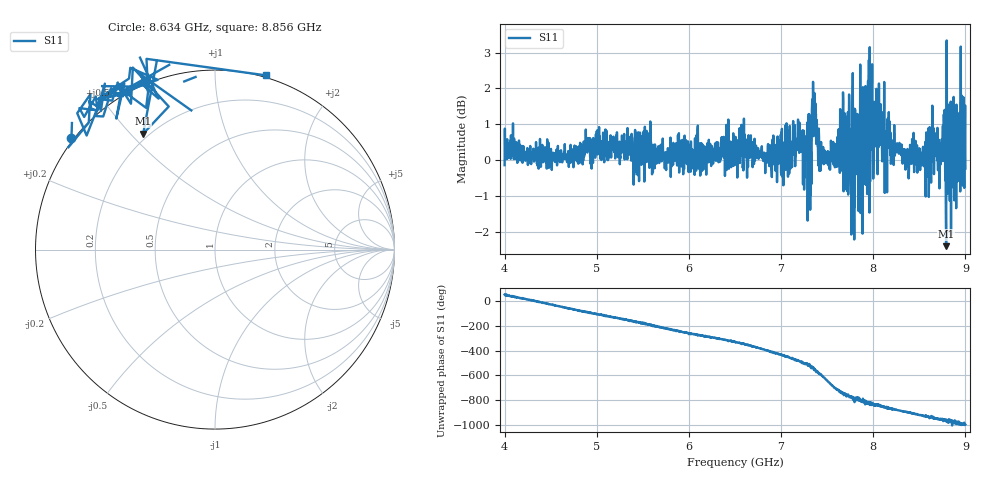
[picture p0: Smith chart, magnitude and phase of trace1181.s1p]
! Created with skrf 1.8.0 (http://scikit-rf.org).
# Hz S RI R 50.0
!freq ReS11 ImS11
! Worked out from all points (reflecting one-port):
!   1601 points, 4 GHz to 9 GHz, reference 50 ohm
!   lowest |S11| = -2.4 dB at 8.791 GHz (marker M1), VSWR 7.31, Z = 8.9 + j27.1 ohm
!   phase of S11 starts at 53 deg and turns -1052 deg over the sweep
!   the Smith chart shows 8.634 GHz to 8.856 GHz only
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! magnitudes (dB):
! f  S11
! 4 GHz  -0.1
! 4.069 GHz  0.7
! 4.625 GHz  -0.1
! 5.25 GHz  -0.1
! 5.875 GHz  0.1
! 6.5 GHz  0.3
! 7.125 GHz  0.4
! 7.306 GHz  1.3
! 7.359 GHz  1.2
! 7.441 GHz  0.2
! 7.584 GHz  -0.2
! 7.666 GHz  1.0
! 7.703 GHz  -0.8
! 7.75 GHz  0.5
! 7.784 GHz  -0.8
! 7.834 GHz  0.6
! 7.891 GHz  0.8
! 7.909 GHz  1.2
! 7.928 GHz  1.5
! 7.944 GHz  2.2
! 7.962 GHz  3.2
! 7.981 GHz  0.3
! 8.056 GHz  0.6
! 8.375 GHz  0.1
! 8.791 GHz  -2.4
! 8.844 GHz  -2.1
! 8.972 GHz  0.3
! 9 GHz  -0.2
